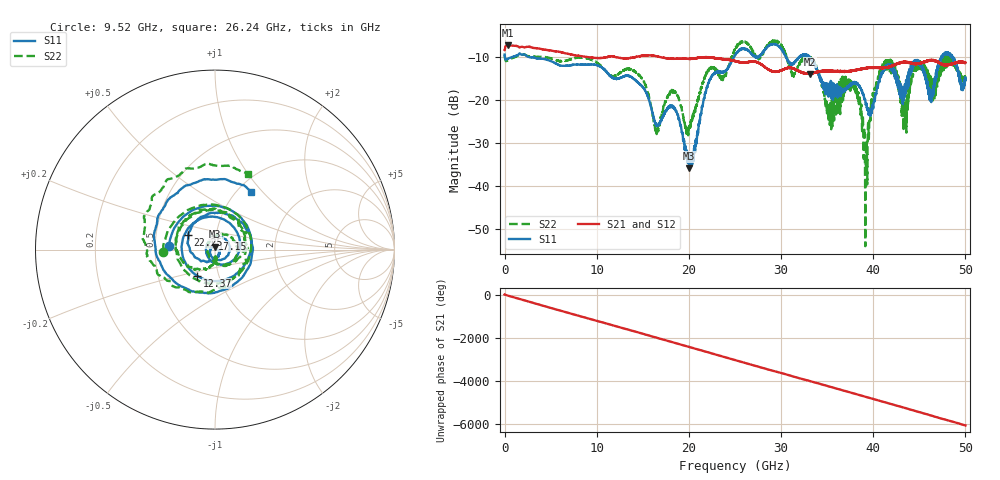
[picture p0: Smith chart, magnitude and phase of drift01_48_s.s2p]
!Created with skrf (http://scikit-rf.org).
# Hz S RI R 50.0
!freq ReS11 ImS11 ReS21 ImS21 ReS12 ImS12 ReS22 ImS22
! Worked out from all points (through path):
!   10001 points, 300 kHz to 50 GHz, reference 50 ohm
!   highest |S21| = -7.33 dB at 365.3 MHz (marker M1); lowest = -14.0 dB at 33.1 GHz (marker M2)
!   group delay of S21, straight-line fit = 335 ps
!   lowest |S11| = -35.9 dB at 20.03 GHz (marker M3), VSWR 1.03, Z = 50.1 + j1.59 ohm
!   |S11| at or under -10 dB: 2.555 GHz to 24.92 GHz (22.36 GHz wide, 163 % of centre); 30.49 GHz to 32.01 GHz (1.519 GHz wide, 4.86 % of centre); 33.07 GHz to 47.39 GHz (14.33 GHz wide, 35.6 % of centre)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
!   |S22| runs from -54.0 to -6.2 dB; largest |S21 - S12| = 0.0095
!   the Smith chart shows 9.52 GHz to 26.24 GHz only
!   S11 on the Smith chart (normalised r, x): 9.52 GHz: 0.59, +0.03; 12.37 GHz: 0.79, -0.23; 17.15 GHz: 0.96, +0.12; 22.25 GHz: 0.73, +0.12; 26.24 GHz: 1.16, +0.87
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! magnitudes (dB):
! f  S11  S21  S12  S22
! 300 kHz  -9.5  -8.4  -8.5  -9.6
! 365.3 MHz  -10.4  -7.3  -7.3  -10.8
! 8.335 GHz  -11.8  -9.9  -9.9  -10.2
! 9.52 GHz  -11.8  -10.2  -10.2  -10.8
! 12.37 GHz  -15.1  -10.2  -10.2  -13.9
! 16.67 GHz  -26.0  -10.0  -10.0  -27.3
! 17.15 GHz  -24.0  -10.2  -10.2  -23.0
! 18.52 GHz  -22.3  -10.5  -10.5  -18.2
! 20.03 GHz  -35.9  -10.5  -10.5  -26.1
! 22.25 GHz  -15.3  -10.1  -10.1  -12.6
! 25 GHz  -9.6  -11.0  -11.0  -8.4
! 26.24 GHz  -8.4  -11.3  -11.3  -6.7
! 33.1 GHz  -10.2  -14.0  -13.8  -10.3
! 33.34 GHz  -10.8  -13.8  -13.8  -10.5
! 35.22 GHz  -16.6  -13.4  -13.4  -21.3
! 37.97 GHz  -15.8  -13.1  -13.1  -16.8
! 39.17 GHz  -20.8  -12.6  -12.6  -40.0
! 40.16 GHz  -20.2  -12.6  -12.6  -17.3
! 41.67 GHz  -12.2  -12.4  -12.4  -11.5
! 43.38 GHz  -17.3  -11.3  -11.3  -20.6
! 44.86 GHz  -11.1  -11.6  -11.5  -11.5
! 50 GHz  -15.4  -11.4  -11.5  -14.9
